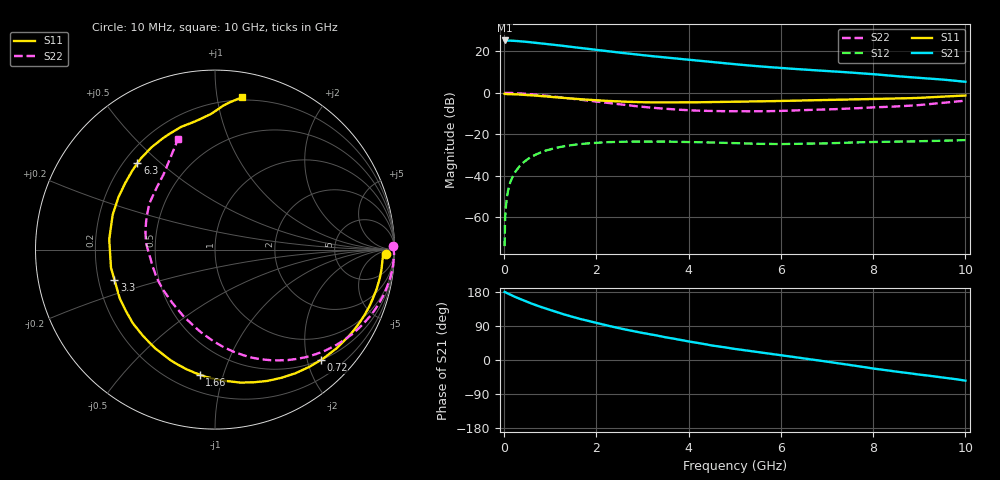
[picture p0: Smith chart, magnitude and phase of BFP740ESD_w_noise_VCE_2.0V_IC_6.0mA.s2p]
! Infineon Technologies  Discrete & RF Semiconductors
! BFP740ESD
! VCE =  2.0 V,  IC =  6.0 mA
! Common Emitter S-Parameters:  Jan 2016
# GHz  S  MA  R  50
!  f  S11  S21  S12  S22
! GHz  MAG  ANG  MAG  ANG  MAG  ANG  MAG  ANG
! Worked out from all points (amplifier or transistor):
!   233 points, 10 MHz to 10 GHz, reference 50 ohm
!   highest |S21| = 25.3 dB at 10 MHz (marker M1)
!   |S21| within 3 dB of that: start of sweep to 1.419 GHz
!   unconditionally stable (mu >= 1): start of sweep to 10.13 MHz; 5.63 GHz to 9.317 GHz
!   at 200 MHz: K = 0.06, MSG = 32.4 dB, |S12| = -39.7 dB
!   at 1.74 GHz: K = 0.30, MSG = 23.0 dB, |S12| = -24.5 dB
!   at 10 GHz: K = 0.72, MSG = 14.1 dB, |S12| = -22.8 dB
!   lowest NFmin = 0.54 dB at 450 MHz
!   S11 on the Smith chart (normalised r, x): 10 MHz: 31, -16; 720 MHz: 0.50, -2.25; 1.66 GHz: 0.31, -0.84; 3.3 GHz: 0.27, -0.14; 6.3 GHz: 0.25, +0.42; 10 GHz: 0.18, +1.18
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0.01  0.9504 -1.5  18.36 179.7  0.0002 26.6  0.9922 1.0
0.02  0.9374 -1.5  18.13 179.0  0.0009 97.3  0.9978 -1.0
0.04  0.9362 -2.8  18.14 177.7  0.0019 85.9  0.9978 -1.9
0.13  0.9322 -8.7  18.18 172.6  0.0068 84.3  0.994 -6.1
0.26  0.9205 -17.5  17.81 165.3  0.0133 78.9  0.981 -12.2
0.45  0.8959 -29.7  17.15 155.8  0.0224 71.4  0.9522 -20.6
0.72  0.8517 -46.3  16.02 143.4  0.0337 61.1  0.8969 -31.8
0.92  0.8179 -58.0  15.15 134.9  0.0409 54.2  0.8518 -39.5
1.2  0.7702 -73.7  13.94 123.9  0.0492 45.6  0.7851 -49.7
1.66  0.7016 -97.0  12.07 108.0  0.0583 33.4  0.6816 -64.4
1.68  0.699 -97.9  11.99 107.4  0.0586 33.0  0.6776 -65.0
2  0.6631 -112.3  10.85 97.7  0.0626 26.2  0.6162 -74.0
2.4  0.6266 -129.6  9.64 86.4  0.0656 18.7  0.5446 -85.1
2.82  0.6016 -146.3  8.538 75.7  0.0668 12.0  0.4812 -96.6
3.3  0.5851 -163.2  7.498 64.9  0.0667 6.1  0.429 -108.9
3.4  0.5856 -166.6  7.312 62.4  0.0666 4.9  0.4206 -111.6
4  0.592 174.5  6.324 48.9  0.0656 -0.8  0.3812 -128.2
5.1  0.6133 149.9  4.795 27.7  0.0607 -6.8  0.3597 -155.7
6.3  0.6467 131.9  3.775 7.6  0.0586 -6.7  0.376 179.1
6.8  0.6629 124.8  3.471 -0.9  0.0599 -6.4  0.3918 169.9
8.4  0.7215 99.3  2.585 -29.0  0.0661 -10.6  0.4639 136.8
10  0.8632 79.8  1.85 -54.4  0.0724 -16.3  0.6479 108.6
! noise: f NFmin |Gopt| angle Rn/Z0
0.45  0.54  0.36  5  0.15
0.9  0.56  0.36  16  0.12
1.9  0.59  0.32  31  0.1
2.4  0.66  0.27  49  0.12
5.5  0.9  0.24  -167  0.11
10  1.83  0.61  -93  0.58
